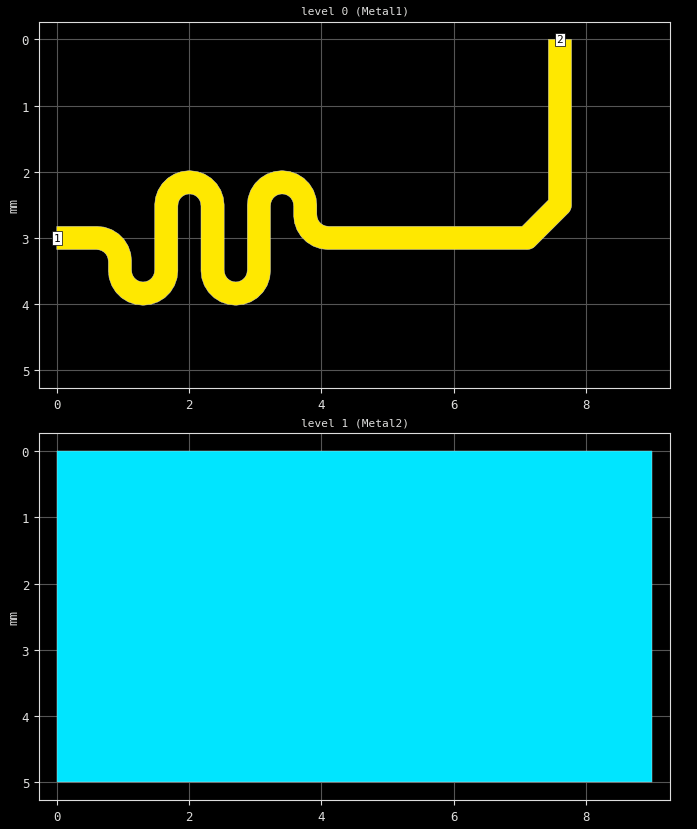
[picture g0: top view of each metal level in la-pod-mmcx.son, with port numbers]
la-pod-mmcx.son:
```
FTYP SONPROJ 17 ! Sonnet Project File
VER 17.52.2
HEADER
LIC antikernel2.1.48685 90e2ba8817c0 havequick azonenberg
DAT 06/03/2020 07:05:05
BUILT_BY_CREATED dxf 17.52.2 05/01/2020 05:35:06
BUILT_BY_SAVED sonnet 17.52.2
MDATE 06/03/2020 07:05:05
HDATE 06/03/2020 07:05:05
ANN Created by dxfgeo, Sonnet Software Inc.
END HEADER
DIM
ANG DEG
CAP PF
CON /OH
FREQ GHZ
IND NH
LNG MM
RES OH
END DIM
CONTROL
VARSWP
OPTIONS  -dj
SPEED 1
CACHE_ABS 1
Q_ACC N
END CONTROL
GEO
TMET "Free Space" 0 FREESPACE 376.7303136 0 0 0
BMET "Free Space" 0 FREESPACE 376.7303136 0 0 0
MET "Unknown_metal" 1 NOR INF 0.5 0 
MET "Copper 1oz thick" 2 TMM 58000000 0.5 0.035 2
MET "Nickel " 3 TMM 14300000 0.5 0.035 2
MET "Copper 0.5oz" 1 NOR 58000000 0.5 0.017 
MET "Unknown_metal" 1 VOL INF 0
BRI "Alumina (96%)" 0 9.4 0.0004 0 
BRI "Alumina (99.5%)" 0 9.9 0.0001 0 
BRI "Aluminum Nitride" 0 8.6 0.0003 0 
BRI "Arlon 25FR" 0 3.58 0.0035 0 
BRI "Arlon 25N" 0 3.38 0.0025 0 
BRI "Arlon AD5" 0 5.1 0.003 0 
BRI "Arlon AD10" 0 10.2 0.005 0 
BRI "Arlon AD250" 0 2.5 0.0018 0 
BRI "Arlon AD255A" 0 2.55 0.0015 0 
BRI "Arlon AD260A" 0 2.6 0.0018 0 
BRI "Arlon AD270" 0 2.7 0.0023 0 
BRI "Arlon AD300A" 0 3 0.002 0 
BRI "Arlon AD320A" 0 3.2 0.0032 0 
BRI "Arlon AD350A" 0 3.5 0.003 0 
BRI "Arlon AD410" 0 4.1 0.003 0 
BRI "Arlon AD430" 0 4.3 0.003 0 
BRI "Arlon AD450" 0 4.5 0.0035 0 
BRI "Arlon AD600" 0 6.15 0.003 0 
BRI "Arlon AD1000" 0 10.2 0.0023 0 
BRI "Arlon AR1000" 0 9.8 0.003 0 
BRI "Arlon CLTE" 0 2.96 0.0023 0 
BRI "Arlon CLTE-AT" 0 3 0.0013 0 
BRI "Arlon CLTE-P" 0 2.94 0.0025 0 
BRI "Arlon CLTE-XT" 0 2.94 0.0012 0 
BRI "Arlon Cu 217LX" 0 2.17 0.0009 0 
BRI "Arlon Cu 233LX" 0 2.33 0.0013 0 
BRI "Arlon Cu 250GT" 0 2.5 0.001 0 
BRI "Arlon Cu 250GX" 0 2.5 0.0018 0 
BRI "Arlon Cu 6250" 0 2.32 0.0013 0 
BRI "Arlon Cu 6700" 0 2.35 0.0025 0 
BRI "Arlon Di 522" 0 2.5 0.001 0 
BRI "Arlon Di 527" 0 2.5 0.0018 0 
BRI "Arlon Di 870" 0 2.33 0.0013 0 
BRI "Arlon Di 880" 0 2.17 0.0009 0 
BRI "Arlon Iso 917" 0 2.17 0.0013 0 
BRI "Arlon Iso 933" 0 2.33 0.0016 0 
BRI "Arlon Multi HF" 0 3.7 0.004 0 
BRI "Arlon TC350" 0 3.5 0.002 0 
BRI "Arlon TC600" 0 6.15 0.002 0 
BRI "Beryllia (99.5%)" 0 6.5 0.0004 0 
BRI "CEM-1" 0 4.5 0.02 0 
BRI "CEM-3" 0 4.5 0.02 0 
BRI "Dupont 9K7" 0 7.1 0.0012 0 
BRI "Dupont 943" 0 7.4 0.002 0 
BRI "Dupont 951" 0 7.8 0.006 0 
BRI "Dupont FEP" 0 2 0.0005 0 
BRI "Dupont Vacrel" 0 3.8 0.011 0 
BRI "ESL 41010" 0 7.5 0.005 0 
BRI "ESL 41020" 0 7.25 0.005 0 
BRI "ESL 41050" 0 13.5 0.002 0 
BRI "ESL 41060" 0 16.5 0.002 0 
BRI "ESL 41110" 0 4.5 0.004 0 
BRI "Ferro A6M" 0 5.9 0.002 0 
BRI "Ferro A6S" 0 5.9 0.002 0 
BRI "Ferro L8" 0 7.3 0.0018 0 
BRI "FR-4" 0 4.4 0.02 0 
BRI "G-10" 0 4.8 0.025 0 
BRI "Gallium Arsenide" 0 12.9 0.006 0 
BRI "Gallium Nitride" 0 9.7 0 0 
BRI "Glass (Pyrex)" 0 4.82 0.0054 0 
BRI "Heraeus HL2000" 0 7.3 0.0026 0 
BRI "Isola 370HR" 0 4.04 0.021 0 
BRI "Isola FR408" 0 3.77 0.0116 0 
BRI "Isola FR408HR" 0 3.68 0.0092 0 
BRI "Isola Getek" 0 3.6 0.01 0 
BRI "Isola GI-180" 0 3.7 0.013 0 
BRI "Isola IS415" 0 3.82 0.0125 0 
BRI "Isola IS620i" 0 3.58 0.006 0 
BRI "Isola IS680-280" 0 2.8 0.0025 0 
BRI "Isola IS680-300" 0 3 0.003 0 
BRI "Isola IS680-320" 0 3.2 0.003 0 
BRI "Isola IS680-333" 0 3.33 0.003 0 
BRI "Isola IS680-338" 0 3.38 0.0032 0 
BRI "Isola IS680-345" 0 3.45 0.0036 0 
BRI "Kerafol CT800" 0 5.3 0.008 0 
BRI "Nelco MW9350" 0 3.7 0.004 0 
BRI "Nelco N4000-12" 0 3.7 0.008 0 
BRI "Nelco N4000-13" 0 3.7 0.009 0 
BRI "Nelco N4000-13SI" 0 3.2 0.007 0 
BRI "Nelco N4000-13EP" 0 3.7 0.008 0 
BRI "Nelco N4350-13RF" 0 3.5 0.0065 0 
BRI "Nelco N4380-13RF" 0 3.8 0.007 0 
BRI "Nelco N9300-13RF" 0 3 0.004 0 
BRI "Nelco N9320-13RF" 0 3.2 0.0045 0 
BRI "Nelco N9338-13RF" 0 3.38 0.0046 0 
BRI "Nelco N9350-13RF" 0 3.48 0.0055 0 
BRI "Nelco NH9294" 0 2.94 0.0022 0 
BRI "Nelco NH9300" 0 3 0.0023 0 
BRI "Nelco NH9320" 0 3.2 0.0024 0 
BRI "Nelco NH9338" 0 3.38 0.0025 0 
BRI "Nelco NH9348" 0 3.48 0.003 0 
BRI "Nelco NH9350" 0 3.5 0.003 0 
BRI "Nelco NH9410" 0 4.1 0.003 0 
BRI "Nelco NH9450" 0 4.5 0.003 0 
BRI "Nelco NX9240" 0 2.4 0.0016 0 
BRI "Nelco NX9245" 0 2.45 0.0016 0 
BRI "Nelco NX9250" 0 2.5 0.0017 0 
BRI "Nelco NX9255" 0 2.55 0.0018 0 
BRI "Nelco NX9260" 0 2.6 0.0019 0 
BRI "Nelco NY9208" 0 2.08 0.0006 0 
BRI "Nelco NY9217" 0 2.17 0.0008 0 
BRI "Nelco NY9220" 0 2.2 0.0009 0 
BRI "Nelco NY9233" 0 2.33 0.0011 0 
BRI "PET" 0 3.37 0.0208 0 
BRI "Polyimide" 0 3.5 0.003 0 
BRI "Quartz (Fused)" 0 3.78 0.0001 0 
BRI "Rogers 3001" 0 2.28 0.003 0 
BRI "Rogers RO2808" 0 7.6 0.0015 0 
BRI "Rogers RO3003" 0 3 0.0013 0 
BRI "Rogers RO3006" 0 6.5 0.002 0 
BRI "Rogers RO3010" 0 11.2 0.0022 0 
BRI "Rogers RO3035" 0 3.6 0.0018 0 
BRI "Rogers RO3203" 0 3.02 0.0016 0 
BRI "Rogers RO3206" 0 6.6 0.0027 0 
BRI "Rogers RO3210" 0 10.8 0.0027 0 
BRI "Rogers RO3730" 0 3 0.0016 0 
BRI "Rogers RO4003C" 0 3.55 0.0029 0 
BRI "Rogers RO4533" 0 3.45 0.0029 0 
BRI "Rogers RO4534" 0 3.4 0.003 0 
BRI "Rogers RO4350B" 0 3.66 0.0037 0 
BRI "Rogers RO4350BTX" 0 3.66 0.0034 0 
BRI "Rogers RO4360" 0 6.15 0.0038 0 
BRI "Rogers RO4450B-3.6" 0 3.3 0.0043 0 
BRI "Rogers RO4450B-4" 0 3.54 0.004 0 
BRI "Rogers RO4450F" 0 3.52 0.0041 0 
BRI "Rogers RO4730" 0 3 0.0033 0 
BRI "Rogers RT5870" 0 2.33 0.0012 0 
BRI "Rogers RT5880" 0 2.2 0.0009 0 
BRI "Rogers RT5880LZ" 0 1.96 0.0019 0 
BRI "Rogers RT6002" 0 2.94 0.0012 0 
BRI "Rogers RT6006" 0 6.15 0.0027 0 
BRI "Rogers RT6010LM" 0 10.9 0.0023 0 
BRI "Rogers RT6035HTC" 0 3.6 0.0013 0 
BRI "Rogers RT6202" 0 2.94 0.0015 0 
BRI "Rogers RT6202PR" 0 2.95 0.0015 0 
BRI "Rogers Syron7000" 0 3.4 0.0045 0 
BRI "Rogers Syron7100-2" 0 3.61 0.006 0 
BRI "Rogers Syron7100-4" 0 3.39 0.005 0 
BRI "Rogers Theta" 0 4.01 0.0118 0 
BRI "Rogers TMM 3" 0 3.39 0.002 0 
BRI "Rogers TMM 4" 0 4.5 0.002 0 
BRI "Rogers TMM 6" 0 6 0.0023 0 
BRI "Rogers TMM 10" 0 9.56 0.0022 0 
BRI "Rogers TMM 10i" 0 9.96 0.002 0 
BRI "Rogers UL2000" 0 2.5 0.0019 0 
BRI "Rogers UL3850" 0 3.05 0.0025 0 
BRI "Rogers UL3908" 0 2.9 0.0025 0 
BRI "Rogers XT8000" 0 3.34 0.0035 0 
BRI "Rogers XT8100-2" 0 3.54 0.0049 0 
BRI "Rogers XT8100-4" 0 3.32 0.0038 0 
BRI "Silicon (intrinsic)" 0 11.9 0.004 0.00044 
BRI "Silicon Dioxide" 0 3.9 0 0 
BRI "Silicon Nitride" 0 7.5 0 0 
BRI "Taconic CER-10" 0 10 0.0035 0 
BRI "Taconic FastFilm" 0 2.7 0.0012 0 
BRI "Taconic Fastrise-DS" 0 2.96 0.0018 0 
BRI "Taconic Fastrise27" 0 2.7 0.0014 0 
BRI "Taconic Fastrise77" 0 7.7 0.0034 0 
BRI "Taconic FEP" 0 2 0.0003 0 
BRI "Taconic RF-30" 0 3 0.0014 0 
BRI "Taconic RF-35" 0 3.5 0.0018 0 
BRI "Taconic RF-35A2" 0 3.5 0.0011 0 
BRI "Taconic RF-35P" 0 3.5 0.0025 0 
BRI "Taconic RF-41" 0 4.1 0.0038 0 
BRI "Taconic RF-43" 0 4.3 0.0033 0 
BRI "Taconic RF-45" 0 4.5 0.0037 0 
BRI "Taconic RF-60A" 0 6.15 0.0038 0 
BRI "Taconic RF-301" 0 2.97 0.0012 0 
BRI "Taconic TacBond HT" 0 2.35 0.0025 0 
BRI "Taconic TLA-6" 0 2.62 0.0012 0 
BRI "Taconic TLC-27" 0 2.75 0.003 0 
BRI "Taconic TLC-30" 0 3 0.003 0 
BRI "Taconic TLC-32" 0 3.2 0.003 0 
BRI "Taconic TLE-95" 0 2.95 0.0028 0 
BRI "Taconic TLF-34" 0 3.4 0.002 0 
BRI "Taconic TLF-35" 0 3.5 0.002 0 
BRI "Taconic TLP-3" 0 2.33 0.0009 0 
BRI "Taconic TLP-5" 0 2.2 0.0009 0 
BRI "Taconic TLP-5A" 0 2.17 0.0009 0 
BRI "Taconic TLT-0" 0 2.45 0.0006 0 
BRI "Taconic TLT-9" 0 2.5 0.0006 0 
BRI "Taconic TLT-8" 0 2.55 0.0006 0 
BRI "Taconic TLT-7" 0 2.6 0.0006 0 
BRI "Taconic TLT-6" 0 2.65 0.0006 0 
BRI "Taconic TLX-0" 0 2.45 0.0019 0 
BRI "Taconic TLX-9" 0 2.5 0.0019 0 
BRI "Taconic TLX-8" 0 2.55 0.0019 0 
BRI "Taconic TLX-7" 0 2.6 0.0019 0 
BRI "Taconic TLX-6" 0 2.65 0.0019 0 
BRI "Taconic TLY-3" 0 2.33 0.0009 0 
BRI "Taconic TLY-3F" 0 2.33 0.0009 0 
BRI "Taconic TLY-5" 0 2.2 0.0009 0 
BRI "Taconic TLY-5-L" 0 2.2 0.0009 0 
BRI "Taconic TLY-5A" 0 2.17 0.0009 0 
BRI "Taconic TLY-5A-L" 0 2.17 0.0009 0 
BRI "Taconic TPG-30" 0 3 0.0038 0 
BRI "Taconic TPG-32" 0 3.2 0.005 0 
BRI "Taconic TPG-35" 0 3.5 0.005 0 
BRI "Taconic TRF-41" 0 4.1 0.0035 0 
BRI "Taconic TRF-43" 0 4.3 0.0035 0 
BRI "Taconic TRF-45" 0 4.5 0.0035 0 
BRI "Taconic TSM-DS" 0 2.85 0.001 0 
BRI "Taconic TSM-DS3" 0 3 0.0011 0 
BRI "Taconic TSM-26" 0 2.6 0.0014 0 
BRI "Taconic TSM-29" 0 2.94 0.0013 0 
BRI "Taconic TSM-30" 0 3 0.0013 0 
BRI "Teflon (PTFE)" 0 2.08 0.0004 0 
BOX 2 9 5 360 200 20 0
      1 1 1 0 0 0 0 "Air"
      0.16 3.6 1 0.0092 0 0 0 "Isola FR408HR"
      1 1 1 0 0 0 0 "Air"
TECHLAY METAL Metal1 <UNSPECIFIED> -2 0 
0 0 1 N 2355 1 1 100 100 0 0 0 Y
END
END
TECHLAY VIA Via1 BLACK -4 0 
VIA POLYGON
1 0 -1 N 0 1 1 100 100 0 0 0 Y
TOLEVEL 0 RING NOCOVERS
END
END
TECHLAY METAL Metal2 BLACK -3 0 
1 0 3 N 0 1 1 100 100 0 0 0 Y
END
END
VALVAR SPACE1 LNG 0.15 "Dim. Param."
LORGN 0 10 U 
POR1 BOX
POLY 2344 1
377
1 50 0 0 0 0 3 
POR1 BOX
POLY 2344 1
121
2 50 0 0 0 7.60449829 -4.440892099e-16 
NUM 2
0 529 1 N 2344 1 1 100 100 0 0 0 Y
TLAYNAM Metal1 INH
USER_DAT FromImport
2.73020019 4.01440048
2.79589691 4.00699997
2.80699768 4.00650024
2.82129517 4.00299835
2.83579864 3.99990082
2.84599914 3.99560165
2.90839996 3.97370148
2.91909637 3.97079849
2.93229523 3.96419907
2.94570007 3.95800018
2.95459595 3.95140076
3.0105957 3.91630173
3.02039947 3.9109993
3.03179779 3.90169907
3.04350128 3.89260101
3.05079498 3.88420105
3.09760132 3.83750153
3.1059021 3.8302002
3.11499634 3.81850052
3.12439575 3.80709839
3.129599 3.79729843
3.16480102 3.74129868
3.17130127 3.73239899
3.17749634 3.71900177
3.18409576 3.7057991
3.18699493 3.69509888
3.20889892 3.63259888
3.21330109 3.62250137
3.21629944 3.60800171
3.21980133 3.59360123
3.22029724 3.58259964
3.22659912 3.52669907
3.22699585 3.52550125
3.22849884 3.50960159
3.22939911 3.50220108
3.22939911 3.50099945
3.22949829 3.49980164
3.22949829 3.49229813
3.22969665 3.47639847
3.22949829 3.47520065
3.22949829 2.51860046
3.23499908 2.4701004
3.24780121 2.4333992
3.26849975 2.40039825
3.29609527 2.3728981
3.32910004 2.35210037
3.36579742 2.33929825
3.40450134 2.3348999
3.44319763 2.33929825
3.47989502 2.35210037
3.51289978 2.3728981
3.5404953 2.40039825
3.56120148 2.4333992
3.57399597 2.4701004
3.57949676 2.51860046
3.57949676 2.63399887
3.5792984 2.6352005
3.57949676 2.65110016
3.57949676 2.65859985
3.57959595 2.65980148
3.57959595 2.66109848
3.58049621 2.66839981
3.58199921 2.68429947
3.58239593 2.6855011
3.58869781 2.74140167
3.58920135 2.75249863
3.59259643 2.76679993
3.5957016 2.78129959
3.60009613 2.79150009
3.62200012 2.85390091
3.62489929 2.86460114
3.63149872 2.87779999
3.63770141 2.89120102
3.64420166 2.90010071
3.67939606 2.95610046
3.6845993 2.96590042
3.69399872 2.97729874
3.70310058 2.98899841
3.71140137 2.99629974
3.75820007 3.04309845
3.7655014 3.05139923
3.77719726 3.0605011
3.78859558 3.06990051
3.79839935 3.07509995
3.85439911 3.11029816
3.86329498 3.1167984
3.87669983 3.1230011
3.88989868 3.12960052
3.90059509 3.13249969
3.96299591 3.15439987
3.97319641 3.15879822
3.98769989 3.16189957
4.00199737 3.16529846
4.01309814 3.16579819
4.06899872 3.17210007
4.07019653 3.17250061
4.08609619 3.17399979
4.09339752 3.17490005
4.09469452 3.17490005
4.09589996 3.17499924
4.10339966 3.17499924
4.11929932 3.17520142
4.12049713 3.17499924
7.09549559 3.17499924
7.10449829 3.17580032
7.11350099 3.17499924
7.13849489 3.17250061
7.17149959 3.16249847
7.20249789 3.14619827
7.22849879 3.1242981
7.23449559 3.11769867
7.72249449 2.62979889
7.72849879 2.6242981
7.73449559 2.61769867
7.74249879 2.60820007
7.75050199 2.59769821
7.76650089 2.56729889
7.77649539 2.53430176
7.77850189 2.51710129
7.78050079 2.5
7.77950139 2.49140167
7.77950139 -4.440892099e-16
7.42949519 -4.440892099e-16
7.42949519 2.42750168
7.03249969 2.82500076
4.11430206 2.82500076
4.065802 2.81949997
4.02909698 2.80670166
3.99609985 2.7859993
3.9684967 2.75839996
3.94779816 2.72539902
3.93499603 2.68870163
3.92949524 2.64020157
3.92949524 2.52479935
3.92970123 2.52360153
3.92949524 2.50770187
3.92949524 2.50019836
3.92939606 2.49900055
3.92939606 2.49779892
3.92849579 2.49039841
3.92700043 2.47449875
3.92659607 2.47330093
3.92030182 2.41740036
3.91979828 2.40639877
3.91629639 2.39199829
3.91329803 2.37749863
3.90889587 2.36740112
3.88699951 2.30490112
3.88410034 2.2942009
3.87750091 2.28099823
3.87129822 2.26760101
3.86479797 2.25870132
3.82959595 2.20270157
3.82440033 2.19290161
3.81500091 2.18149948
3.80589905 2.1697998
3.79759827 2.16249847
3.75079956 2.11579895
3.74349823 2.10739899
3.73179474 2.09830093
3.72039642 2.0890007
3.71060028 2.08369827
3.65460052 2.04859924
3.64569702 2.04199982
3.6322998 2.03580093
3.61910095 2.02920151
3.60839691 2.02629852
3.54599609 2.00439835
3.53579559 2.00009918
3.52129974 1.99700165
3.50699463 1.99349976
3.49590149 1.99300003
3.43019714 1.98559952
3.41929474 1.98360062
3.40450134 1.98379898
3.38970032 1.98360062
3.37879791 1.98559952
3.3131012 1.99300003
3.30200043 1.99349976
3.28769531 1.99700165
3.27319946 2.00009918
3.26299896 2.00439835
3.20059814 2.02629852
3.18990173 2.02920151
3.17669525 2.03580093
3.16329803 2.04199982
3.15439453 2.04859924
3.09839477 2.08369827
3.08859863 2.0890007
3.07720032 2.09830093
3.06549683 2.10739899
3.05819549 2.11579895
3.01139679 2.16249847
3.00309601 2.1697998
2.99400177 2.18149948
2.98459473 2.19290161
2.97939911 2.20270157
2.94419708 2.25870132
2.93769684 2.26760101
2.93150177 2.28099823
2.92489471 2.2942009
2.92199554 2.30490112
2.90009918 2.36740112
2.89569702 2.37749863
2.89259949 2.39199829
2.88919678 2.40639877
2.88870087 2.41740036
2.88239899 2.47330093
2.88199463 2.47449875
2.88049927 2.49029922
2.879599 2.49779892
2.879599 2.49900055
2.87949982 2.50019836
2.87949982 2.50759888
2.87930145 2.52360153
2.87949982 2.52479935
2.87949982 3.48139954
2.87399902 3.5298996
2.8611969 3.5666008
2.84049835 3.59960175
2.8128952 3.6271019
2.77989807 3.64789963
2.74320068 3.66070175
2.70449676 3.6651001
2.66580048 3.66070175
2.62909546 3.64789963
2.59609833 3.6271019
2.56849518 3.59960175
2.54779663 3.5666008
2.53499451 3.5298996
2.52950134 3.48139954
2.52950134 2.52479935
2.52969971 2.52360153
2.52950134 2.50770187
2.52950134 2.50019836
2.52939453 2.49900055
2.52939453 2.49779892
2.52850189 2.49039841
2.5269989 2.47449875
2.52659454 2.47330093
2.52030029 2.41740036
2.51979675 2.40639877
2.51629486 2.39199829
2.51329651 2.37749863
2.50890198 2.36740112
2.48699798 2.30490112
2.48409881 2.2942009
2.47749939 2.28099823
2.47129669 2.26760101
2.46479645 2.25870132
2.42960205 2.20270157
2.4243988 2.19290161
2.41499939 2.18149948
2.40589752 2.1697998
2.39759674 2.16249847
2.35079803 2.11579895
2.3434967 2.10739899
2.33180084 2.09830093
2.3203949 2.0890007
2.31059875 2.08369827
2.254599 2.04859924
2.24569549 2.04199982
2.23229828 2.03580093
2.21909943 2.02920151
2.20839538 2.02629852
2.14599457 2.00439835
2.1358017 2.00009918
2.12129822 1.99700165
2.10700073 1.99349976
2.09589996 1.99300003
2.03019562 1.98559952
2.01930084 1.98360062
2.00449982 1.98379898
1.98969879 1.98360062
1.97879639 1.98559952
1.91309967 1.99300003
1.9019989 1.99349976
1.88770141 1.99700165
1.87319794 2.00009918
1.86299744 2.00439835
1.80059662 2.02629852
1.78990021 2.02920151
1.77670135 2.03580093
1.76329651 2.04199982
1.75440063 2.04859924
1.69840088 2.08369827
1.68859711 2.0890007
1.67719879 2.09830093
1.6654953 2.10739899
1.6582016 2.11579895
1.61139526 2.16249847
1.60309448 2.1697998
1.59400024 2.18149948
1.58460083 2.19290161
1.57939758 2.20270157
1.54419556 2.25870132
1.53769531 2.26760101
1.53150024 2.28099823
1.52490082 2.2942009
1.52200165 2.30490112
1.50009766 2.36740112
1.49569549 2.37749863
1.49259796 2.39199829
1.48919525 2.40639877
1.48869934 2.41740036
1.48239746 2.47330093
1.48200073 2.47449875
1.48049774 2.49029922
1.47959747 2.49779892
1.47959747 2.49900055
1.47949829 2.50019836
1.47949829 2.50759888
1.47929993 2.52360153
1.47949829 2.52479935
1.47949829 3.48139954
1.4739975 3.5298996
1.46119537 3.5666008
1.44049683 3.59960175
1.41290131 3.6271019
1.37989654 3.64789963
1.34319916 3.66070175
1.30449524 3.6651001
1.26579895 3.66070175
1.22910156 3.64789963
1.1960968 3.6271019
1.16850128 3.59960175
1.1477951 3.5666008
1.13500061 3.5298996
1.12949982 3.48139954
1.12949982 3.36600113
1.12969818 3.3647995
1.12949982 3.34889984
1.12949982 3.34140015
1.12940063 3.34019852
1.12940063 3.33890152
1.12850037 3.33160019
1.12699737 3.31570053
1.12660065 3.3144989
1.12029877 3.25859833
1.11979523 3.24750137
1.11640015 3.23320007
1.11329498 3.21870041
1.10890045 3.20849991
1.08699646 3.14609909
1.08409729 3.13539886
1.07749786 3.12220001
1.07129517 3.10879898
1.06479492 3.09989929
1.02960052 3.04389954
1.02439728 3.03409958
1.01499786 3.02270126
1.005896 3.01100159
0.99759521 3.00370026
0.95079651 2.95690155
0.94349518 2.94860077
0.93179932 2.9394989
0.920401 2.93009949
0.91059723 2.92490005
0.85459747 2.88970184
0.8457016 2.8832016
0.83229675 2.8769989
0.8190979 2.87039948
0.80840149 2.86750031
0.74600067 2.84560013
0.73580017 2.84120178
0.72129669 2.83810043
0.70699921 2.83470154
0.69589844 2.83420181
0.63999786 2.82789993
0.63880005 2.82749939
0.62290039 2.82600021
0.61559906 2.82509995
0.61430206 2.82509995
0.61309662 2.82500076
0.60559692 2.82500076
0.58969726 2.82479858
0.58849945 2.82500076
0 2.82500076
0 3.17499924
0.59469452 3.17499924
0.64319458 3.18050003
0.6798996 3.19329834
0.71289673 3.2140007
0.74049988 3.24160004
0.76119842 3.27460098
0.77400055 3.31129837
0.77950134 3.35979843
0.77950134 3.47520065
0.77929535 3.47639847
0.77950134 3.49229813
0.77950134 3.49980164
0.77960052 3.50099945
0.77960052 3.50220108
0.78050079 3.50960159
0.78199615 3.52550125
0.78240051 3.52669907
0.78869476 3.58259964
0.7891983 3.59360123
0.79260101 3.60800171
0.79569855 3.62250137
0.80010071 3.63259888
0.82199707 3.69509888
0.82489624 3.70569992
0.83149567 3.71900177
0.83769836 3.73239899
0.84419861 3.74129868
0.87940063 3.79729843
0.88459625 3.80709839
0.89399567 3.81850052
0.90309753 3.8302002
0.91139831 3.83750153
0.95819702 3.88420105
0.96549835 3.89260101
0.97720184 3.90169907
0.98860016 3.9109993
0.9983963 3.91630173
1.05439606 3.95140076
1.06329956 3.95800018
1.07669678 3.96419907
1.08989563 3.97079849
1.10059967 3.97370148
1.16300049 3.99560165
1.17320099 3.99990082
1.18769684 4.00299835
1.20200195 4.00650024
1.21309509 4.00699997
1.27879944 4.01440048
1.28970184 4.01639938
1.30449524 4.01620102
1.31929626 4.01639938
1.33019867 4.01440048
1.39589538 4.00699997
1.40699615 4.00650024
1.42130127 4.00299835
1.43579712 3.99990082
1.44599762 3.99560165
1.50839844 3.97370148
1.51909485 3.97079849
1.53230133 3.96419907
1.54569855 3.95800018
1.55460205 3.95140076
1.61060181 3.91630173
1.62039795 3.9109993
1.63179626 3.90169907
1.64349975 3.89260101
1.65080109 3.88420105
1.69759979 3.83750153
1.70590057 3.8302002
1.71499481 3.81850052
1.72440185 3.80709839
1.72959747 3.79729843
1.7647995 3.74129868
1.77129974 3.73239899
1.77749481 3.71900177
1.78410187 3.7057991
1.78700104 3.69509888
1.8088974 3.63259888
1.81329956 3.62250137
1.81629791 3.60800171
1.8197998 3.59360123
1.82029571 3.58259964
1.82659759 3.52669907
1.82700195 3.52550125
1.82849731 3.50960159
1.82939758 3.50220108
1.82939758 3.50099945
1.82949676 3.49980164
1.82949676 3.49229813
1.82969513 3.47639847
1.82949676 3.47520065
1.82949676 2.51860046
1.83499756 2.4701004
1.84779968 2.4333992
1.86849823 2.40039825
1.89610138 2.3728981
1.92909851 2.35210037
1.9657959 2.33929825
2.00449982 2.3348999
2.0431961 2.33929825
2.07990112 2.35210037
2.11289825 2.3728981
2.1405014 2.40039825
2.16119995 2.4333992
2.17400207 2.4701004
2.17949524 2.51860046
2.17949524 3.47520065
2.17929687 3.47639847
2.17949524 3.49240112
2.17949524 3.49980164
2.17960205 3.50099945
2.17960205 3.50220108
2.18049469 3.50970078
2.18199768 3.52550125
2.18240204 3.52669907
2.18869629 3.58259964
2.18919983 3.59360123
2.19259491 3.60800171
2.19570007 3.62250137
2.2000946 3.63259888
2.2219986 3.69509888
2.22489777 3.70569992
2.23149719 3.71900177
2.23769989 3.73239899
2.24420013 3.74129868
2.27939453 3.79729843
2.28459778 3.80709839
2.29399719 3.81850052
2.30309906 3.8302002
2.31139984 3.83750153
2.35819855 3.88420105
2.36549988 3.89260101
2.37719574 3.90169907
2.38860168 3.9109993
2.39839783 3.91630173
2.45439758 3.95140076
2.46330109 3.95800018
2.4766983 3.96419907
2.48989715 3.97079849
2.5006012 3.97370148
2.56300201 3.99560165
2.57319488 3.99990082
2.58769836 4.00299835
2.60199585 4.00650024
2.61309662 4.00699997
2.67880096 4.01440048
2.68969574 4.01639938
2.70449676 4.01620102
2.71929779 4.01639938
2.73020019 4.01440048
END
1 5 3 N 2348 1 1 100 100 0 0 0 Y
TLAYNAM Metal2 INH
0 0
9 0
9 5
0 5
0 0
END
END GEO
OPT
MAX 100
END OPT
VARSWP
ENABLED Y
FREQ Y AY ABS_ENTRY 0.1 6.0 -1 300 
END
END VARSWP
```
